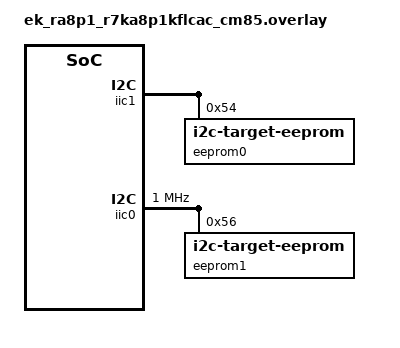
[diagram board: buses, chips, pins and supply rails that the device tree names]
/*
 * Copyright (c) 2025 Renesas Electronics Corporation
 *
 * SPDX-License-Identifier: Apache-2.0
 */

/* To test this sample, connect
 * SCL1 P512  -->  SCL0 P410
 * SDA1 P511  -->  SDA0 P409
 */

&pinctrl {
	iic0_default: iic0_default {
		group1 {
			/* SCL0 SDA0 */
			psels = <RA_PSEL(RA_PSEL_I2C, 4, 10)>,
				<RA_PSEL(RA_PSEL_I2C, 4, 9)>;
			drive-strength = "medium";
		};
	};
};

&iic1 {
	status = "okay";

	eeprom0: eeprom@54 {
		compatible = "zephyr,i2c-target-eeprom";
		address-width = <8>;
		reg = <0x54>;
		size = <256>;
	};
};

&iic0 {
	#address-cells = <1>;
	#size-cells = <0>;
	clock-frequency = <I2C_BITRATE_FAST_PLUS>;
	pinctrl-0 = <&iic0_default>;
	pinctrl-names = "default";
	interrupts = <92 1>, <93 1>, <94 1>, <95 1>;
	interrupt-names = "rxi", "txi", "tei", "eri";
	status = "okay";

	eeprom1: eeprom@56 {
		compatible = "zephyr,i2c-target-eeprom";
		reg = <0x56>;
		size = <256>;
	};
};
